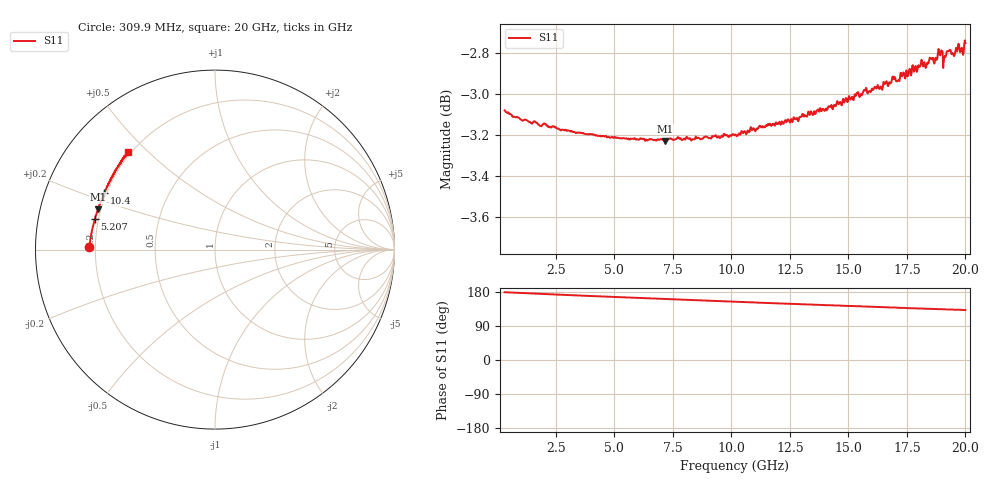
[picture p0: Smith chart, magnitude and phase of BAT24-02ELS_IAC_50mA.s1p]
! Infineon Technologies  Discrete & RF Semiconductors
! BAT24-02ELS
! IAC = 50 mA
! One-Port S-Parameters
# Hz  S  MA  R  50
!f  S11
!Hz  Mag  Ang
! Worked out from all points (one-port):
!   789 points, 309.9 MHz to 20 GHz, reference 50 ohm
!   lowest |S11| = -3.2 dB at 7.181 GHz (marker M1), VSWR 5.44, Z = 9.44 + j8.12 ohm
!   |S11| at or under -10 dB: nowhere
!   S11 on the Smith chart (normalised r, x): 309.9 MHz: 0.18, +0.01; 5.207 GHz: 0.19, +0.12; 10.4 GHz: 0.19, +0.23; 20 GHz: 0.19, +0.43
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3.0985e8  0.7014 178.9
2.783612e9  0.6939 172.1
5.2074e9  0.6906 165.8
5.232388e9  0.6905 165.7
7.181412e9  0.6895 160.9
7.70615e9  0.6909 159.7
1.015492e10  0.6917 153.7
1.04048e10  0.6925 153.1
1.262869e10  0.6975 148.0
1.507746e10  0.7057 142.7
1.66017e10  0.7127 139.1
1.677661e10  0.712 138.7
1.695152e10  0.7138 138.4
1.715142e10  0.7133 137.8
1.755122e10  0.7152 136.9
1.82009e10  0.7189 135.6
1.837581e10  0.7205 135.1
1.855072e10  0.7219 134.9
1.875062e10  0.7221 134.5
1.895052e10  0.7248 134.2
1.912544e10  0.7231 133.7
1.932534e10  0.7255 133.4
1.950025e10  0.7232 132.9
1.962519e10  0.726 132.7
1.967516e10  0.7261 132.5
1.982509e10  0.7261 132.2
1.987506e10  0.725 132.3
2e10  0.7283 132.0
